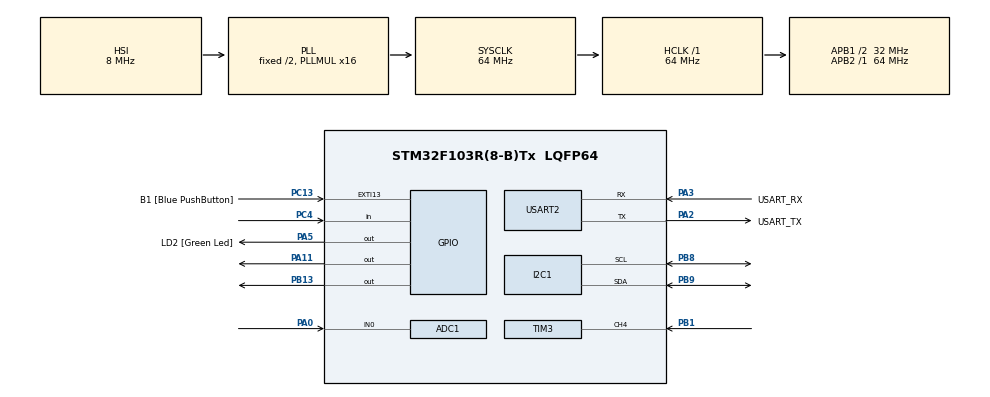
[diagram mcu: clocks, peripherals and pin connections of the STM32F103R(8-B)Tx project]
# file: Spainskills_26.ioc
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ADC1.Channel-0\#ChannelRegularConversion=ADC_CHANNEL_0
ADC1.NbrOfConversionFlag=1
ADC1.Rank-0\#ChannelRegularConversion=1
ADC1.SamplingTime-0\#ChannelRegularConversion=ADC_SAMPLETIME_1CYCLE_5
ADC1.master=1
I2C1.I2C_Mode=I2C_Fast
Mcu.Family=STM32F1
Mcu.Name=STM32F103R(8-B)Tx
Mcu.Package=LQFP64
NVIC.EXTI15_10_IRQn=true\:0\:0\:false\:false\:true\:true\:true\:true
NVIC.PriorityGroup=NVIC_PRIORITYGROUP_4
NVIC.TIM3_IRQn=true\:0\:0\:false\:false\:true\:true\:true\:true
PA0-WKUP.Signal=ADCx_IN0
PA11.Signal=GPIO_Output
PA13.GPIO_Label=TMS
PA13.Mode=Serial_Wire
PA13.Signal=SYS_JTMS-SWDIO
PA14.GPIO_Label=TCK
PA14.Mode=Serial_Wire
PA14.Signal=SYS_JTCK-SWCLK
PA2.GPIO_Label=USART_TX
PA2.GPIO_Mode=GPIO_MODE_AF_PP
PA2.GPIO_PuPd=GPIO_NOPULL
PA2.GPIO_Speed=GPIO_SPEED_FREQ_LOW
PA2.Mode=Asynchronous
PA2.Signal=USART2_TX
PA3.GPIO_Label=USART_RX
PA3.GPIO_Mode=GPIO_MODE_AF_PP
PA3.GPIO_PuPd=GPIO_NOPULL
PA3.GPIO_Speed=GPIO_SPEED_FREQ_LOW
PA3.Mode=Asynchronous
PA3.Signal=USART2_RX
PA5.GPIO_Label=LD2 [Green Led]
PA5.GPIO_ModeDefaultOutputPP=GPIO_MODE_OUTPUT_PP
PA5.GPIO_PuPd=GPIO_NOPULL
PA5.GPIO_Speed=GPIO_SPEED_FREQ_LOW
PA5.Signal=GPIO_Output
PB1.Signal=S_TIM3_CH4
PB13.Signal=GPIO_Output
PB3.GPIO_Label=SWO
PB3.Signal=SYS_JTDO-TRACESWO
PB8.Mode=I2C
PB8.Signal=I2C1_SCL
PB9.Mode=I2C
PB9.Signal=I2C1_SDA
PC13-TAMPER-RTC.GPIO_Label=B1 [Blue PushButton]
PC13-TAMPER-RTC.GPIO_PuPd=GPIO_NOPULL
PC13-TAMPER-RTC.Signal=GPXTI13
PC14-OSC32_IN.Mode=LSE-External-Oscillator
PC14-OSC32_IN.Signal=RCC_OSC32_IN
PC15-OSC32_OUT.Mode=LSE-External-Oscillator
PC15-OSC32_OUT.Signal=RCC_OSC32_OUT
PC4.GPIO_PuPd=GPIO_PULLDOWN
PC4.Signal=GPIO_Input
PD0-OSC_IN.Mode=HSE-External-Clock-Source
PD0-OSC_IN.Signal=RCC_OSC_IN
PD1-OSC_OUT.Mode=HSE-External-Clock-Source
PD1-OSC_OUT.Signal=RCC_OSC_OUT
ProjectManager.HeapSize=0x200
ProjectManager.StackSize=0x400
ProjectManager.TargetToolchain=STM32CubeIDE
RCC.ADCPresc=RCC_ADCPCLK2_DIV8
RCC.AHBFreq_Value=64000000
RCC.APB1CLKDivider=RCC_HCLK_DIV2
RCC.APB1Freq_Value=32000000
RCC.APB1TimFreq_Value=64000000
RCC.APB2Freq_Value=64000000
RCC.APB2TimFreq_Value=64000000
RCC.HCLKFreq_Value=64000000
RCC.PLLMUL=RCC_PLL_MUL16
RCC.RTCClockSelection=RCC_RTCCLKSOURCE_LSE
RCC.SYSCLKFreq_VALUE=64000000
RCC.SYSCLKSource=RCC_SYSCLKSOURCE_PLLCLK
RCC.USBFreq_Value=64000000
SH.ADCx_IN0.0=ADC1_IN0,IN0
SH.S_TIM3_CH4.0=TIM3_CH4,Input_Capture4_from_TI4
TIM2.AutoReloadPreload=TIM_AUTORELOAD_PRELOAD_DISABLE
TIM2.Period=65000
TIM2.Prescaler=64-1
TIM3.Channel-Input_Capture4_from_TI4=TIM_CHANNEL_4
TIM3.Prescaler=64-1
USART2.VirtualMode=VM_ASYNC
VP_TIM2_VS_ClockSourceINT.Mode=Internal
VP_TIM3_VS_ClockSourceINT.Mode=Internal
board=NUCLEO-F103RB

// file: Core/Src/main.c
/* USER CODE BEGIN Header */
/**
  ******************************************************************************
  * @file           : main.c
  * @brief          : Main program body
  ******************************************************************************
  * @attention
  *
  * Copyright (c) 2025 STMicroelectronics.
  * All rights reserved.
  *
  * This software is licensed under terms that can be found in the LICENSE file
  * in the root directory of this software component.
  * If no LICENSE file comes with this software, it is provided AS-IS.
  *
  ******************************************************************************
  */
/* USER CODE END Header */
#include "main.h"
#include "adc.h"
#include "i2c.h"
#include "tim.h"
#include "usart.h"
#include "gpio.h"

/* USER CODE BEGIN Includes */

#include "drivers/TurboLCD.h"
#include "drivers/hc_sr04.h"
#include "drivers/fonts.h"
#include "drivers/ssd1306.h"
#include "drivers/bitmap.h"

/* USER CODE END Includes */

void SystemClock_Config(void);

int main(void)
{

  /* MCU Configuration--------------------------------------------------------*/

  /* Reset of all peripherals, Initializes the Flash interface and the Systick. */
  HAL_Init();

  /* Configure the system clock */
  SystemClock_Config();

  /* Initialize all configured peripherals */
  MX_GPIO_Init();
  MX_USART2_UART_Init();
  MX_I2C1_Init();
  MX_ADC1_Init();
  MX_TIM2_Init();
  MX_TIM3_Init();
  /* USER CODE BEGIN 2 */

  //---- Display LCD - I2C ---//
  /*
  LCD_Init();
  LCD_Clear();
  LCD_Set_Cursor(0,0);
  LCD_Write_String("Spainskills 2026");
  */
  //---------------------//

  //---- OLED SSD1306 - I2C ---//
  SSD1306_Init (); // initialise the display

  SSD1306_Clear();

  SSD1306_GotoXY (10,0); // goto 10, 0
  SSD1306_Puts ("Spainskills !!", &Font_11x18, 1);

  int num = 123456;
  float flt = 3.5;

  int entero = (int)flt;
  int decimal = (int)((flt - entero) * 100);
  if (decimal < 0) decimal = -decimal;

  char bufnum[7];
  char bufflt[7];

  sprintf (bufnum, "%d", num);
  sprintf(bufflt, "%d.%02d", entero, decimal); // No está habiliatado el float...

  SSD1306_GotoXY (10, 20); // va a columna 10 fila 30
  SSD1306_Puts (bufnum, &Font_7x10, 1); // print num

  SSD1306_GotoXY (10, 30); // va a columna 10 fila 30
  SSD1306_Puts (bufflt, &Font_16x26, 1); // print num
  SSD1306_UpdateScreen(); // update screen

  SSD1306_DrawBitmap(84, 30, pacman_32x32, 32, 32, 1);

  SSD1306_UpdateScreen(); // update screen<p style="margin:0;"></p>  while (1) { }

  SSD1306_ScrollLeft(1,64);

  //---------------------//

  extern TIM_HandleTypeDef htim3;
  HC_SR04_Init(&htim3, TIM_CHANNEL_4);

  /* USER CODE END 2 */

  /* Infinite loop */
  /* USER CODE BEGIN WHILE */

  uint32_t ticks_seg = 0;
  char time_str[9];
  memset(time_str,0,9);

  uint32_t adc_value = 0;
  float v_adc = 0;
  char v_value_str[8];
  memset(v_value_str,0,8);

  uint32_t last_update = 0;

  while (1)
  {

	 // Mostrar hora
	 uint32_t now = HAL_GetTick();   // tiempo actual en ms

	 if(now - last_update >= 1000)
	 {
		 uint8_t horas    = (ticks_seg / 3600) % 24;
		 uint8_t minutos  = (ticks_seg % 3600) / 60;
		 uint8_t segundos = ticks_seg % 60;
		 snprintf(time_str, 9, "%02u:%02u:%02u", horas, minutos, segundos);

		 LCD_Set_Cursor(1,0);
		 LCD_Write_String(time_str);
		 HAL_Delay(1000);
		 ticks_seg ++;

		 last_update = now;
	 }

	 //Mostrar ADC y convertir voltios

	 HAL_ADC_Start(&hadc1);
	 // Espera a que termine (timeout en ms)
	 if (HAL_ADC_PollForConversion(&hadc1, 100) == HAL_OK)
	 {
		 adc_value = HAL_ADC_GetValue(&hadc1);
	 }
	 HAL_ADC_Stop(&hadc1);

	 // Float está desabilitado para ahorrar memoria. `Puedo habilitar o escalar el entero
	 v_adc = 3.3 * adc_value / 4095.0;
	 uint8_t entero = (int)v_adc;                  // parte entera
	 uint8_t decimales = (int)((v_adc - entero) * 100);  // 2 decimales

	 // Medir distancia

	 uint32_t distancia = HC_SR04_GetDistance_cm();

	 if(distancia>0){
		 memset(v_value_str,0,sizeof(v_value_str));
		 snprintf(v_value_str, sizeof(v_value_str), "D=%lu", distancia);

		 LCD_Set_Cursor(1,9);
		 LCD_Write_String("      ");   // Borro por si habia datos más largos
		 LCD_Set_Cursor(1,9);
		 LCD_Write_String(v_value_str);
	 }

    /* USER CODE END WHILE */

  }
}

void SystemClock_Config(void)
{
  RCC_OscInitTypeDef RCC_OscInitStruct = {0};
  RCC_ClkInitTypeDef RCC_ClkInitStruct = {0};
  RCC_PeriphCLKInitTypeDef PeriphClkInit = {0};

  /** Initializes the RCC Oscillators according to the specified parameters
  * in the RCC_OscInitTypeDef structure.
  */
  RCC_OscInitStruct.OscillatorType = RCC_OSCILLATORTYPE_HSI;
  RCC_OscInitStruct.HSIState = RCC_HSI_ON;
  RCC_OscInitStruct.HSICalibrationValue = RCC_HSICALIBRATION_DEFAULT;
  RCC_OscInitStruct.PLL.PLLState = RCC_PLL_ON;
  RCC_OscInitStruct.PLL.PLLSource = RCC_PLLSOURCE_HSI_DIV2;
  RCC_OscInitStruct.PLL.PLLMUL = RCC_PLL_MUL16;
  if (HAL_RCC_OscConfig(&RCC_OscInitStruct) != HAL_OK)
  {
    Error_Handler();
  }

  /** Initializes the CPU, AHB and APB buses clocks
  */
  RCC_ClkInitStruct.ClockType = RCC_CLOCKTYPE_HCLK|RCC_CLOCKTYPE_SYSCLK
                              |RCC_CLOCKTYPE_PCLK1|RCC_CLOCKTYPE_PCLK2;
  RCC_ClkInitStruct.SYSCLKSource = RCC_SYSCLKSOURCE_PLLCLK;
  RCC_ClkInitStruct.AHBCLKDivider = RCC_SYSCLK_DIV1;
  RCC_ClkInitStruct.APB1CLKDivider = RCC_HCLK_DIV2;
  RCC_ClkInitStruct.APB2CLKDivider = RCC_HCLK_DIV1;

  if (HAL_RCC_ClockConfig(&RCC_ClkInitStruct, FLASH_LATENCY_2) != HAL_OK)
  {
    Error_Handler();
  }
  PeriphClkInit.PeriphClockSelection = RCC_PERIPHCLK_ADC;
  PeriphClkInit.AdcClockSelection = RCC_ADCPCLK2_DIV8;
  if (HAL_RCCEx_PeriphCLKConfig(&PeriphClkInit) != HAL_OK)
  {
    Error_Handler();
  }
}

void Error_Handler(void)
{
  __disable_irq();
  while (1)
  {
  }
}
